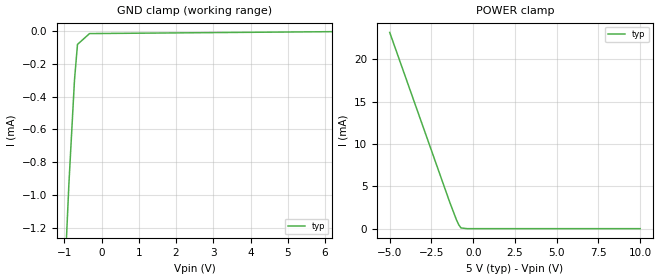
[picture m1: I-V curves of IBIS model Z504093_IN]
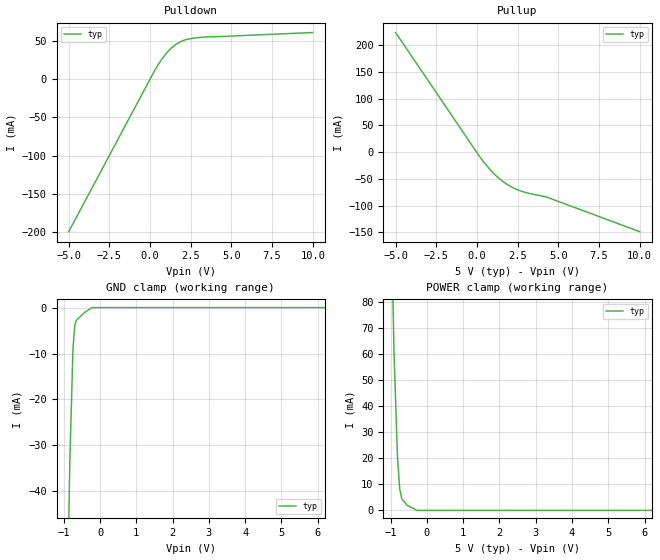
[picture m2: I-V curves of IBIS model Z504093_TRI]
| YOU ARE ONLY AUTHORIZED TO USE THIS SOFTWARE
| ACCORDING TO LICENSOR'S LICENSE RESTRICTIONS.
[IBIS Ver] 3.1
[File Name] mc54hc368j.ibs
[File Rev] 2.0
[Source] Measured and created by ICX Technology
[Date] Friday 7/14/00 9:08:06 AM
[Copyright]
| (C) COPYRIGHT 1993-2000
| MENTOR GRAPHICS CORPORATION
| ICX STANDARD LIBRARY, ICX PROJECT MODELING,
| ICX CUSTOM MODELING, ICX VENDOR MODEL
| ALL RIGHTS RESERVED.
| THE FOLLOWING ARE TRADEMARKS OR SERVICE MARKS OF
| MENTOR GRAPHICS CORPORATION:ICX (R), ICX STANDARD
| LIBRARY(R), ICX PROJECT MODELING(R), ICX CUSTOM
| MODELING(R), qualityIBIS(TM), MODELVIEWER(TM),
| AND MODELEDITOR(TM)
| ALL COPIES OF SOFTWARE, INCLUDING BUT NOT LIMITED TO
| ANY MODIFICATIONS, ENHANCEMENTS OR DERIVATIVE WORKS,
| MUST CONTAIN ALL MENTOR GRAPHICS CORPORATION'S
| NOTICES AND LEGENDS, INCLUDING THOSE EMBEDDED IN
| SOFTWARE AND THOSE AFFIXED TO SOFTWARE MEDIUM
| AND CONTAINER, AS RECEIVED FROM MENTOR GRAPHICS
| CORPORATION.
|  ZAP Model Builder 2.7
[Component] MC54HC368J
[Manufacturer] OnSemiconductor
[Package]
| variable   typ   min   max
R_pkg  .212ohms NA NA
L_pkg  4.758nH NA NA
C_pkg  1.944pF NA NA
[Pin] signal_name  model_name  R_pin  L_pin C_pin
1 _G1 Z504093_IN .224 7.258n 2.683p
2 A0 Z504093_IN .216 5.258n 2.19p
3 _Y0 Z504093_TRI .208 3.758n 1.697p
4 A1 Z504093_IN .2 2.758n 1.204p
5 _Y1 Z504093_TRI .2 2.758n 1.204p
6 A2 Z504093_IN .208 3.758n 1.697p
7 _Y2 Z504093_TRI .216 5.258n 2.19p
8 GND GND .224 7.258n 2.683p
9 _Y3 Z504093_TRI .224 7.258n 2.683p
10 A3 Z504093_IN .216 5.258n 2.19p
11 _Y4 Z504093_TRI .208 3.758n 1.697p
12 A4 Z504093_IN .2 2.758n 1.204p
13 _Y5 Z504093_TRI .2 2.758n 1.204p
14 A5 Z504093_IN .208 3.758n 1.697p
15 _G2 Z504093_IN .216 5.258n 2.19p
16 VCC POWER .224 7.258n 2.683p
| Models and submodels in the file (2): Z504093_IN (Input), Z504093_TRI (3-state)
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| (C) COPYRIGHT 1993-2000
| MENTOR GRAPHICS CORPORATION
| ICX STANDARD LIBRARY, ICX PROJECT MODELING,
| ICX CUSTOM MODELING, ICX VENDOR MODEL
| ALL RIGHTS RESERVED.
| THE FOLLOWING ARE TRADEMARKS OR SERVICE MARKS OF
| MENTOR GRAPHICS CORPORATION:ICX (R), ICX STANDARD
| LIBRARY(R), ICX PROJECT MODELING(R), ICX CUSTOM
| MODELING(R), qualityIBIS(TM), MODELVIEWER(TM),
| AND MODELEDITOR(TM)
| ALL COPIES OF SOFTWARE, INCLUDING BUT NOT LIMITED TO
| ANY MODIFICATIONS, ENHANCEMENTS OR DERIVATIVE WORKS,
| MUST CONTAIN ALL MENTOR GRAPHICS CORPORATION'S
| NOTICES AND LEGENDS, INCLUDING THOSE EMBEDDED IN
| SOFTWARE AND THOSE AFFIXED TO SOFTWARE MEDIUM
| AND CONTAINER, AS RECEIVED FROM MENTOR GRAPHICS
| CORPORATION.
| Model Application Version 1.89 2/18/99.
[Model] Z504093_IN
Model_type Input
Vinl = 1.000V
Vinh = 3.500V
C_comp 4.000pF NA NA
| variable typ   min   max
[Voltage Range] 5.000V NA NA
[GND Clamp Reference] 0.000V NA NA
[POWER Clamp Reference] 5.000V NA NA
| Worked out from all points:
|   POWER clamp passes 1 mA (typ) near -0.99 V on its own axis
[GND Clamp]
-5V       -23.44mA   NA         NA
-1.356V   -3.372mA   NA         NA
-878.6mV  -936.5uA   NA         NA
-727.8mV  -298.1uA   NA         NA
-646.9mV  -80.12uA   NA         NA
-323.4mV  -14.06uA   NA         NA
10V       4.436uA    NA         NA
[POWER Clamp]
-5V       23.17mA    NA         NA
-1.401V   3.1mA      NA         NA
-1.002V   1.04mA     NA         NA
-868mV    465.9uA    NA         NA
-729mV    83.76uA    NA         NA
-364.5mV  0A         NA         NA
10V       0A         NA         NA
| (C) COPYRIGHT 1993-2000
| MENTOR GRAPHICS CORPORATION
| ICX STANDARD LIBRARY, ICX PROJECT MODELING,
| ICX CUSTOM MODELING, ICX VENDOR MODEL
| ALL RIGHTS RESERVED.
| THE FOLLOWING ARE TRADEMARKS OR SERVICE MARKS OF
| MENTOR GRAPHICS CORPORATION:ICX (R), ICX STANDARD
| LIBRARY(R), ICX PROJECT MODELING(R), ICX CUSTOM
| MODELING(R), qualityIBIS(TM), MODELVIEWER(TM),
| AND MODELEDITOR(TM)
| ALL COPIES OF SOFTWARE, INCLUDING BUT NOT LIMITED TO
| ANY MODIFICATIONS, ENHANCEMENTS OR DERIVATIVE WORKS,
| MUST CONTAIN ALL MENTOR GRAPHICS CORPORATION'S
| NOTICES AND LEGENDS, INCLUDING THOSE EMBEDDED IN
| SOFTWARE AND THOSE AFFIXED TO SOFTWARE MEDIUM
| AND CONTAINER, AS RECEIVED FROM MENTOR GRAPHICS
| CORPORATION.
| Model Application Version 1.89 2/18/99.
[Model] Z504093_TRI
Model_type 3-state
Vref=0.000V
Rref=500.0Mohms
Cref=50.00pF
Vmeas=2.500V
C_comp 8.000pF NA NA
| variable typ   min   max
[Voltage Range] 5.000V NA NA
[POWER Clamp Reference] 5.000V NA NA
[Pullup Reference] 5.000V NA NA
[Pulldown Reference] 0.000V NA NA
[GND Clamp Reference] 0.000V NA NA
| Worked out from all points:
|   slope of the pulldown table from 0 to 0.75 V, typ, clamps not added: 27.9 ohm
|   slope of the pullup table from 0 to 0.75 V, typ, clamps not added: 25.2 ohm
|   GND clamp passes 1 mA (typ) near -0.41 V on its own axis
[GND Clamp]
-5V       -1.993A    NA         NA
-834.8mV  -33.94mA   NA         NA
-747.1mV  -9.02mA    NA         NA
-697.6mV  -3.952mA   NA         NA
-654.9mV  -2.782mA   NA         NA
-448.7mV  -1.213mA   NA         NA
-224.4mV  0A         NA         NA
10V       0A         NA         NA
[Pulldown]
-5V       -199.1mA   NA         NA
293mV     11.68mA    NA         NA
757.5mV   27.1mA     NA         NA
1.01V     34.02mA    NA         NA
1.456V    43.29mA    NA         NA
2.03V     50.35mA    NA         NA
2.743V    53.86mA    NA         NA
10V       60.89mA    NA         NA
[Pullup]
-5V       223.3mA    NA         NA
117mV     -6.357mA   NA         NA
786mV     -32.13mA   NA         NA
1.562V    -54.21mA   NA         NA
2.11V     -64.96mA   NA         NA
2.695V    -72.78mA   NA         NA
4.282V    -84.13mA   NA         NA
10V       -148.7mA   NA         NA
[POWER Clamp]
-5V       3.456A     NA         NA
-1.05V    159.4mA    NA         NA
-906mV    59.78mA    NA         NA
-812mV    20.46mA    NA         NA
-751mV    8.214mA    NA         NA
-693mV    4.438mA    NA         NA
-548mV    1.986mA    NA         NA
-274mV    0A         NA         NA
10V       0A         NA         NA
[Ramp]
| variable typ min max
dV/dt_r 2.882/2.108n NA NA
dV/dt_f 2.882/1.283n NA NA
R_load = 500.0Ohms
